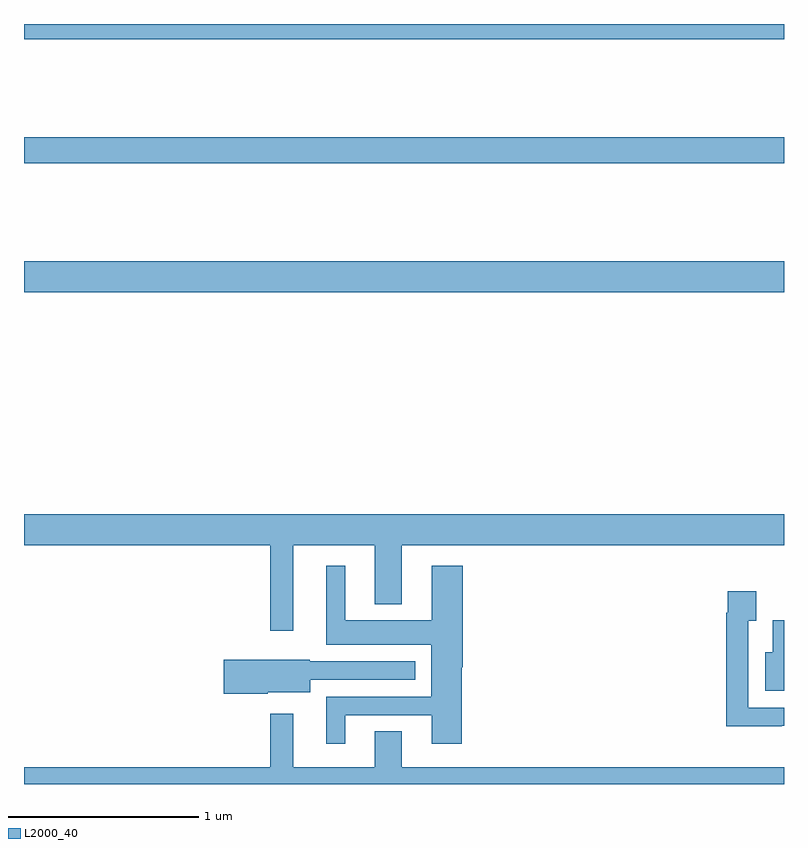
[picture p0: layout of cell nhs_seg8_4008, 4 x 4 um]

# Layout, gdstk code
import gdstk
lib = gdstk.Library(unit=1e-6, precision=1e-09)
def R(c, l, rs):  # rectangles x0, y0, x1, y1
    for r in rs: c.add(gdstk.rectangle(r[:2], r[2:], *l))
def P(c, l, *ps):  # polygons
    for p in ps: c.add(gdstk.Polygon(p, *l))
L2000_40 = (2000, 40)

nhs_seg8_4008 = lib.new_cell('nhs_seg8_4008')
R(nhs_seg8_4008, L2000_40, [(357,1128.488,361,1128.652), (357,1129.168,361,1129.304), (357,1129.82,361,1129.9)])
P(nhs_seg8_4008, L2000_40, [(358.417,1127.156),(358.847,1127.156),(358.847,1126.847),(358.987,1126.847),(358.987,1127.156),(361,1127.156),(361,1127.32),(357,1127.32),(357,1127.156),(358.296,1127.156),(358.296,1126.707),(358.417,1126.707)],
  [(358.69,1126.263),(359.147,1126.263),(359.147,1126.113),(359.303,1126.113),(359.303,1126.515),(359.308,1126.515),(359.308,1127.05),(359.147,1127.05),(359.147,1126.762),(358.69,1126.762),(358.69,1127.05),(358.592,1127.05),(358.592,1126.634),(359.144,1126.634),(359.144,1126.359),(358.592,1126.359),(358.592,1126.113),(358.69,1126.113)],
  [(360.989,1126.206),(361,1126.206),(361,1126.302),(360.813,1126.302),(360.813,1126.759),(360.853,1126.759),(360.853,1126.915),(360.705,1126.915),(360.705,1126.802),(360.697,1126.802),(360.697,1126.205),(360.989,1126.205)],
  [(361,1126.762),(360.941,1126.762),(360.941,1126.594),(360.902,1126.594),(360.902,1126.391),(361,1126.391)],
  [(358.284,1126.382),(358.507,1126.382),(358.507,1126.449),(359.059,1126.449),(359.059,1126.545),(358.503,1126.545),(358.503,1126.553),(358.05,1126.553),(358.05,1126.375),(358.284,1126.375)],
  [(361,1125.988),(358.987,1125.988),(358.987,1126.178),(358.847,1126.178),(358.847,1125.988),(358.417,1125.988),(358.417,1126.27),(358.296,1126.27),(358.296,1125.988),(357,1125.988),(357,1125.9),(361,1125.9)])

lib.write_gds('nhs_seg8_4008.gds')
